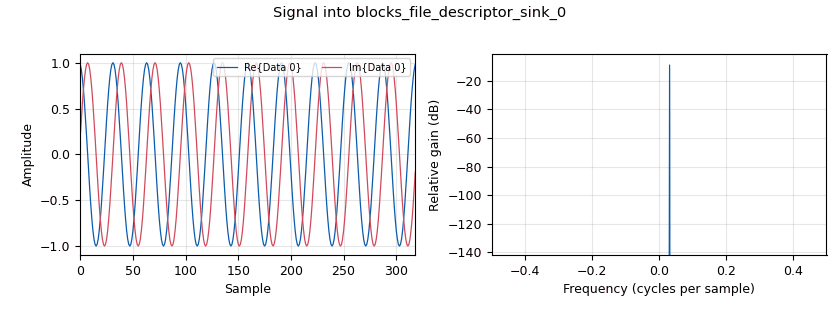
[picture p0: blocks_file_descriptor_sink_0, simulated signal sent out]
<?xml version='1.0' encoding='utf-8'?>
<?grc format='1' created='3.7.7'?>
<flow_graph>
<block>
<key>options</key>
<param><key>id</key><value>blocks_file_desciptor_sink</value></param>
<param><key>generate_options</key><value>no_gui</value></param>
<param><key>category</key><value>Custom</value></param>
<param><key>run_options</key><value>run</value></param>
</block>
<block>
<key>variable</key>
<param><key>id</key><value>samp_rate</value></param>
<param><key>value</key><value>32000</value></param>
</block>
<block>
<key>variable</key>
<param><key>id</key><value>fd</value></param>
<param><key>value</key><value>open("/tmp/outputfd.32fc", "w")</value></param>
</block>
<block>
<key>analog_sig_source_x</key>
<param><key>id</key><value>analog_sig_source_x_0</value></param>
<param><key>type</key><value>complex</value></param>
<param><key>samp_rate</key><value>samp_rate</value></param>
<param><key>waveform</key><value>analog.GR_COS_WAVE</value></param>
<param><key>freq</key><value>1000</value></param>
<param><key>amp</key><value>1</value></param>
<param><key>offset</key><value>0</value></param>
</block>
<block>
<key>blocks_file_descriptor_sink</key>
<param><key>id</key><value>blocks_file_descriptor_sink_0</value></param>
<param><key>fd</key><value>fd.fileno()</value></param>
<param><key>type</key><value>complex</value></param>
</block>
<block>
<key>blocks_head</key>
<param><key>id</key><value>blocks_head_0</value></param>
<param><key>type</key><value>complex</value></param>
<param><key>num_items</key><value>1000000</value></param>
</block>
<connection><source_block_id>blocks_head_0</source_block_id><sink_block_id>blocks_file_descriptor_sink_0</sink_block_id><source_key>0</source_key><sink_key>0</sink_key></connection>
<connection><source_block_id>analog_sig_source_x_0</source_block_id><sink_block_id>blocks_head_0</sink_block_id><source_key>0</source_key><sink_key>0</sink_key></connection>
</flow_graph>
